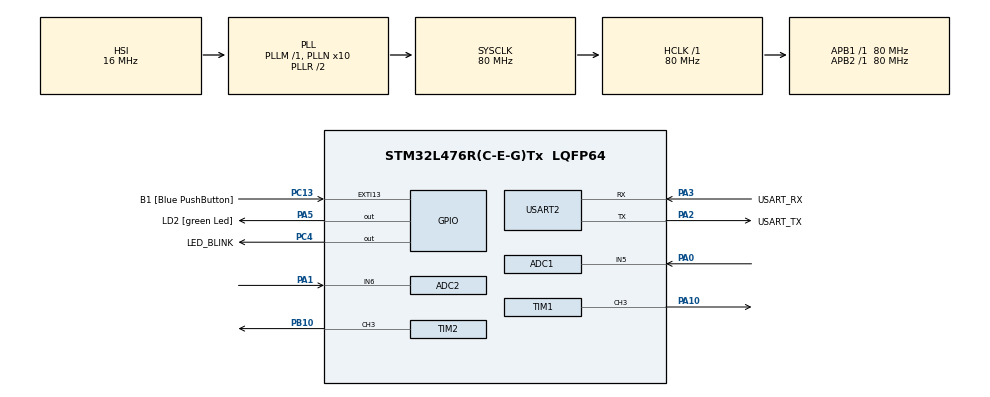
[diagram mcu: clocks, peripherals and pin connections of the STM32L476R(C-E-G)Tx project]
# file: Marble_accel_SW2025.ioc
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ADC1.Channel-1\#ChannelRegularConversion=ADC_CHANNEL_5
ADC1.ContinuousConvMode=DISABLE
ADC1.NbrOfConversionFlag=1
ADC1.OffsetNumber-1\#ChannelRegularConversion=ADC_OFFSET_NONE
ADC1.Rank-1\#ChannelRegularConversion=1
ADC1.SamplingTime-1\#ChannelRegularConversion=ADC_SAMPLETIME_2CYCLES_5
ADC1.master=1
ADC2.Channel-0\#ChannelRegularConversion=ADC_CHANNEL_6
ADC2.NbrOfConversionFlag=1
ADC2.OffsetNumber-0\#ChannelRegularConversion=ADC_OFFSET_NONE
ADC2.Rank-0\#ChannelRegularConversion=1
ADC2.SamplingTime-0\#ChannelRegularConversion=ADC_SAMPLETIME_2CYCLES_5
Mcu.Family=STM32L4
Mcu.Name=STM32L476R(C-E-G)Tx
Mcu.Package=LQFP64
Mcu.UserConstants=tim2_period,10000-1;tim1_period,10000-1;tim2_duty,5000-1;tim1_duty,5000-1
NVIC.ADC1_2_IRQn=true\:4\:0\:true\:false\:true\:true\:false\:true
NVIC.PriorityGroup=NVIC_PRIORITYGROUP_4
NVIC.TIM3_IRQn=true\:5\:0\:true\:false\:true\:true\:false\:true
NVIC.USART2_IRQn=true\:0\:0\:false\:false\:true\:true\:false\:true
PA0.Signal=ADCx_IN5
PA1.Signal=ADCx_IN6
PA10.Signal=S_TIM1_CH3
PA13\ (JTMS-SWDIO).GPIO_Label=TMS
PA13\ (JTMS-SWDIO).Mode=Serial_Wire
PA13\ (JTMS-SWDIO).Signal=SYS_JTMS-SWDIO
PA14\ (JTCK-SWCLK).GPIO_Label=TCK
PA14\ (JTCK-SWCLK).Mode=Serial_Wire
PA14\ (JTCK-SWCLK).Signal=SYS_JTCK-SWCLK
PA2.GPIO_Label=USART_TX
PA2.GPIO_Mode=GPIO_MODE_AF_PP
PA2.GPIO_PuPd=GPIO_NOPULL
PA2.GPIO_Speed=GPIO_SPEED_FREQ_VERY_HIGH
PA2.Mode=Asynchronous
PA2.Signal=USART2_TX
PA3.GPIO_Label=USART_RX
PA3.GPIO_Mode=GPIO_MODE_AF_PP
PA3.GPIO_PuPd=GPIO_NOPULL
PA3.GPIO_Speed=GPIO_SPEED_FREQ_VERY_HIGH
PA3.Mode=Asynchronous
PA3.Signal=USART2_RX
PA5.GPIO_Label=LD2 [green Led]
PA5.GPIO_ModeDefaultOutputPP=GPIO_MODE_OUTPUT_PP
PA5.GPIO_PuPd=GPIO_NOPULL
PA5.GPIO_Speed=GPIO_SPEED_FREQ_LOW
PA5.Signal=GPIO_Output
PB10.Signal=S_TIM2_CH3
PB3\ (JTDO-TRACESWO).GPIO_Label=SWO
PB3\ (JTDO-TRACESWO).Signal=SYS_JTDO-SWO
PC13.GPIO_Label=B1 [Blue PushButton]
PC13.GPIO_ModeDefaultEXTI=GPIO_MODE_IT_FALLING
PC13.GPIO_PuPd=GPIO_NOPULL
PC13.Signal=GPXTI13
PC14-OSC32_IN\ (PC14).Mode=LSE-External-Oscillator
PC14-OSC32_IN\ (PC14).Signal=RCC_OSC32_IN
PC15-OSC32_OUT\ (PC15).Mode=LSE-External-Oscillator
PC15-OSC32_OUT\ (PC15).Signal=RCC_OSC32_OUT
PC4.GPIO_Label=LED_BLINK
PC4.Signal=GPIO_Output
PH0-OSC_IN\ (PH0).Signal=RCC_OSC_IN
PH1-OSC_OUT\ (PH1).Signal=RCC_OSC_OUT
ProjectManager.HeapSize=0x200
ProjectManager.StackSize=0x400
ProjectManager.TargetToolchain=STM32CubeIDE
RCC.ADCFreq_Value=64000000
RCC.AHBFreq_Value=80000000
RCC.APB1Freq_Value=80000000
RCC.APB1TimFreq_Value=80000000
RCC.APB2Freq_Value=80000000
RCC.APB2TimFreq_Value=80000000
RCC.CortexFreq_Value=80000000
RCC.HCLKFreq_Value=80000000
RCC.HSE_VALUE=8000000
RCC.HSI_VALUE=16000000
RCC.MSI_VALUE=4000000
RCC.PLLN=10
RCC.PLLSourceVirtual=RCC_PLLSOURCE_HSI
RCC.PREFETCH_ENABLE=1
RCC.SYSCLKFreq_VALUE=80000000
RCC.SYSCLKSource=RCC_SYSCLKSOURCE_PLLCLK
RCC.USBFreq_Value=64000000
RCC.VCOOutputFreq_Value=160000000
SH.ADCx_IN5.0=ADC1_IN5,IN5-Single-Ended
SH.ADCx_IN6.0=ADC2_IN6,IN6-Single-Ended
SH.S_TIM1_CH3.0=TIM1_CH3,PWM Generation3 CH3
SH.S_TIM2_CH3.0=TIM2_CH3,PWM Generation3 CH3
TIM1.AutoReloadPreload=TIM_AUTORELOAD_PRELOAD_DISABLE
TIM1.Channel-PWM\ Generation3\ CH3=TIM_CHANNEL_3
TIM1.OC3Preload_PWM=DISABLE
TIM1.OCFastMode_PWM-PWM\ Generation3\ CH3=TIM_OCFAST_ENABLE
TIM1.OCPolarity_3=TIM_OCPOLARITY_LOW
TIM1.Period=tim1_period
TIM1.Prescaler=80
TIM1.Pulse=tim1_period
TIM1.Pulse-PWM\ Generation3\ CH3=tim1_duty
TIM2.Channel-PWM\ Generation3\ CH3=TIM_CHANNEL_3
TIM2.OC3Preload_PWM=DISABLE
TIM2.OCFastMode_PWM-PWM\ Generation3\ CH3=TIM_OCFAST_ENABLE
TIM2.OCMode_PWM-PWM\ Generation3\ CH3=TIM_OCMODE_PWM1
TIM2.OCPolarity_3=TIM_OCPOLARITY_LOW
TIM2.Period=tim2_period
TIM2.Prescaler=80
TIM2.Pulse=tim2_period
TIM2.Pulse-PWM\ Generation3\ CH3=tim2_duty
TIM3.Period=8000-1
USART2.VirtualMode-Asynchronous=VM_ASYNC
VP_TIM1_VS_ClockSourceINT.Mode=Internal
VP_TIM2_VS_ClockSourceINT.Mode=Internal
VP_TIM3_VS_ClockSourceINT.Mode=Internal
board=NUCLEO-L476RG

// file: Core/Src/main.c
/* USER CODE BEGIN Header */
/**
  ******************************************************************************
  * @file           : main.c
  * @brief          : Main program body
  ******************************************************************************
  * @attention
  *
  * Copyright (c) 2025 STMicroelectronics.
  * All rights reserved.
  *
  * This software is licensed under terms that can be found in the LICENSE file
  * in the root directory of this software component.
  * If no LICENSE file comes with this software, it is provided AS-IS.
  *
  ******************************************************************************
  */
/* USER CODE END Header */
#include "main.h"
#include "adc.h"
#include "tim.h"
#include "usart.h"
#include "gpio.h"

/* USER CODE BEGIN Includes */
#include "stdio.h"
/* USER CODE END Includes */

/* USER CODE BEGIN PD */
/**
  * @brief  Enable the TIM peripheral.
  * @param  __HANDLE__ TIM handle
  * @retval None
  */

//#define HAL_TIM_ENABLE_OPM(__HANDLE__)                 ((__HANDLE__)->Instance->CR1|=(TIM_CR1_CEN|TIM_CR1_OPM))
/* USER CODE END PD */

/* USER CODE BEGIN PV */
uint32_t mag_hor = 0;
uint32_t mag_ver = 0;
//uint32_t count=0;
//extern uint32_t marble_inside_flag;
//extern uint32_t marble_exit_flag;
//extern uint32_t marble_count;
extern uint32_t adc1_new_val_flag;
extern uint32_t adc2_new_val_flag;

extern bool is_buffone_full;
extern bool is_bufftwo_full;

uint32_t pv_count=0;

/* USER CODE END PV */

void SystemClock_Config(void);
void PeriphCommonClock_Config(void);

int main(void)
{

  /* MCU Configuration--------------------------------------------------------*/

  /* Reset of all peripherals, Initializes the Flash interface and the Systick. */
  HAL_Init();

  /* Configure the system clock */
  SystemClock_Config();

  /* Configure the peripherals common clocks */
  PeriphCommonClock_Config();

  /* Initialize all configured peripherals */
  MX_GPIO_Init();
  MX_USART2_UART_Init();
  MX_ADC1_Init();
  MX_TIM3_Init();
  MX_TIM1_Init();
  MX_ADC2_Init();
  MX_TIM2_Init();
  /* USER CODE BEGIN 2 */
  HAL_ADCEx_Calibration_Start(&hadc1,ADC_SINGLE_ENDED);
  HAL_ADCEx_Calibration_Start(&hadc2,ADC_SINGLE_ENDED);
  HAL_ADC_Start_IT(&hadc1);
  HAL_ADC_Start_IT(&hadc2);
  HAL_TIM_Base_Start_IT(&htim3);

  /* USER CODE END 2 */

  /* Infinite loop */
  /* USER CODE BEGIN WHILE */
  while (1)
  {
	  if (is_buffone_full || is_bufftwo_full)
	  {
		  send_data_json_array();
	  }
	  HAL_Delay(1);
    /* USER CODE END WHILE */

  }
}

void SystemClock_Config(void)
{
  RCC_OscInitTypeDef RCC_OscInitStruct = {0};
  RCC_ClkInitTypeDef RCC_ClkInitStruct = {0};

  /** Configure the main internal regulator output voltage
  */
  if (HAL_PWREx_ControlVoltageScaling(PWR_REGULATOR_VOLTAGE_SCALE1) != HAL_OK)
  {
    Error_Handler();
  }

  /** Initializes the RCC Oscillators according to the specified parameters
  * in the RCC_OscInitTypeDef structure.
  */
  RCC_OscInitStruct.OscillatorType = RCC_OSCILLATORTYPE_HSI;
  RCC_OscInitStruct.HSIState = RCC_HSI_ON;
  RCC_OscInitStruct.HSICalibrationValue = RCC_HSICALIBRATION_DEFAULT;
  RCC_OscInitStruct.PLL.PLLState = RCC_PLL_ON;
  RCC_OscInitStruct.PLL.PLLSource = RCC_PLLSOURCE_HSI;
  RCC_OscInitStruct.PLL.PLLM = 1;
  RCC_OscInitStruct.PLL.PLLN = 10;
  RCC_OscInitStruct.PLL.PLLP = RCC_PLLP_DIV7;
  RCC_OscInitStruct.PLL.PLLQ = RCC_PLLQ_DIV2;
  RCC_OscInitStruct.PLL.PLLR = RCC_PLLR_DIV2;
  if (HAL_RCC_OscConfig(&RCC_OscInitStruct) != HAL_OK)
  {
    Error_Handler();
  }

  /** Initializes the CPU, AHB and APB buses clocks
  */
  RCC_ClkInitStruct.ClockType = RCC_CLOCKTYPE_HCLK|RCC_CLOCKTYPE_SYSCLK
                              |RCC_CLOCKTYPE_PCLK1|RCC_CLOCKTYPE_PCLK2;
  RCC_ClkInitStruct.SYSCLKSource = RCC_SYSCLKSOURCE_PLLCLK;
  RCC_ClkInitStruct.AHBCLKDivider = RCC_SYSCLK_DIV1;
  RCC_ClkInitStruct.APB1CLKDivider = RCC_HCLK_DIV1;
  RCC_ClkInitStruct.APB2CLKDivider = RCC_HCLK_DIV1;

  if (HAL_RCC_ClockConfig(&RCC_ClkInitStruct, FLASH_LATENCY_4) != HAL_OK)
  {
    Error_Handler();
  }
}

void PeriphCommonClock_Config(void)
{
  RCC_PeriphCLKInitTypeDef PeriphClkInit = {0};

  /** Initializes the peripherals clock
  */
  PeriphClkInit.PeriphClockSelection = RCC_PERIPHCLK_ADC;
  PeriphClkInit.AdcClockSelection = RCC_ADCCLKSOURCE_PLLSAI1;
  PeriphClkInit.PLLSAI1.PLLSAI1Source = RCC_PLLSOURCE_HSI;
  PeriphClkInit.PLLSAI1.PLLSAI1M = 1;
  PeriphClkInit.PLLSAI1.PLLSAI1N = 8;
  PeriphClkInit.PLLSAI1.PLLSAI1P = RCC_PLLP_DIV7;
  PeriphClkInit.PLLSAI1.PLLSAI1Q = RCC_PLLQ_DIV2;
  PeriphClkInit.PLLSAI1.PLLSAI1R = RCC_PLLR_DIV2;
  PeriphClkInit.PLLSAI1.PLLSAI1ClockOut = RCC_PLLSAI1_ADC1CLK;
  if (HAL_RCCEx_PeriphCLKConfig(&PeriphClkInit) != HAL_OK)
  {
    Error_Handler();
  }
}

void Error_Handler(void)
{
  __disable_irq();
  while (1)
  {
  }
}
